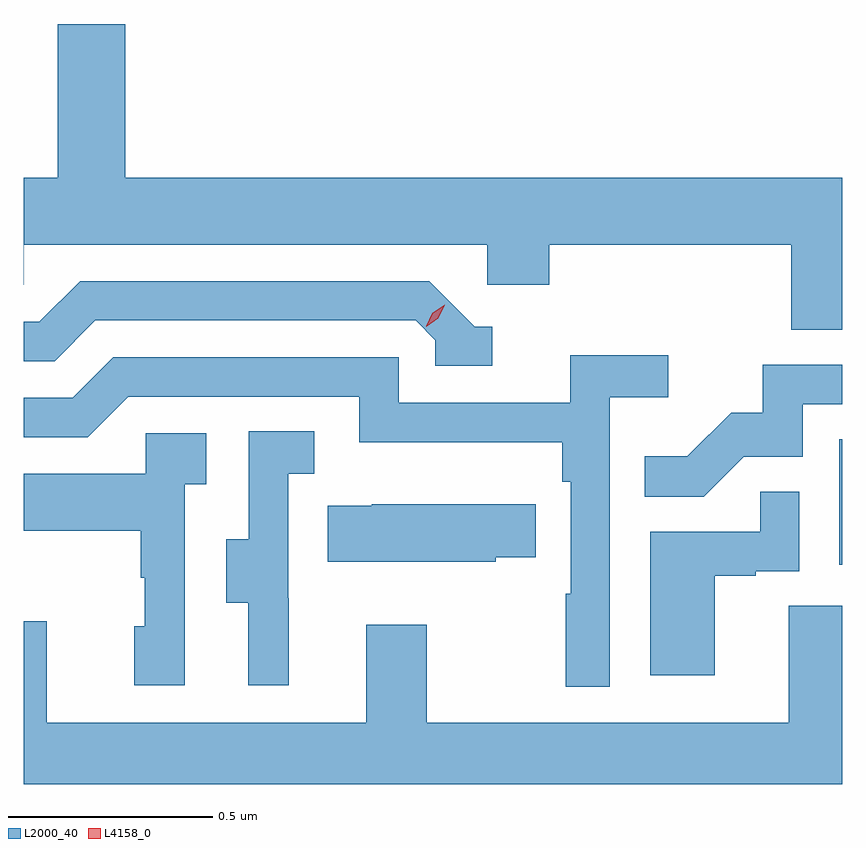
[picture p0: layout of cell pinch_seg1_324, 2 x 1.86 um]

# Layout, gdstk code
import gdstk
lib = gdstk.Library(unit=1e-6, precision=1e-09)
def R(c, l, rs):  # rectangles x0, y0, x1, y1
    for r in rs: c.add(gdstk.rectangle(r[:2], r[2:], *l))
def P(c, l, *ps):  # polygons
    for p in ps: c.add(gdstk.Polygon(p, *l))
L2000_40 = (2000, 40)
L4158_0 = (4158, 0)

pinch_seg1_324 = lib.new_cell('pinch_seg1_324')
R(pinch_seg1_324, L2000_40, [(1006.076,561.606,1006.084,561.913)])
P(pinch_seg1_324, L2000_40, [(1006.084,562.552),(1004.332,562.552),(1004.332,562.927),(1004.168,562.927),(1004.168,562.552),(1004.084,562.552),(1004.084,562.29),(1004.085,562.29),(1004.085,562.388),(1005.216,562.388),(1005.216,562.29),(1005.368,562.29),(1005.368,562.388),(1005.959,562.388),(1005.959,562.18),(1006.084,562.18)],
  [(1005.229,562.188),(1005.186,562.188),(1005.075,562.299),(1004.222,562.299),(1004.123,562.2),(1004.084,562.2),(1004.084,562.104),(1004.16,562.104),(1004.259,562.203),(1005.042,562.203),(1005.09,562.155),(1005.09,562.092),(1005.229,562.092)],
  [(1005.516,562.016),(1005.658,562.016),(1005.658,562.118),(1005.419,562.118),(1005.419,562.002),(1005,562.002),(1005,562.113),(1004.303,562.113),(1004.204,562.014),(1004.084,562.014),(1004.084,561.918),(1004.241,561.918),(1004.34,562.017),(1004.904,562.017),(1004.904,561.905),(1005.4,561.905),(1005.4,561.809),(1005.42,561.809),(1005.42,561.536),(1005.408,561.536),(1005.408,561.309),(1005.516,561.309)],
  [(1005.843,561.87),(1005.987,561.87),(1005.987,561.999),(1006.084,561.999),(1006.084,562.095),(1005.889,562.095),(1005.889,561.978),(1005.812,561.978),(1005.705,561.871),(1005.601,561.871),(1005.601,561.772),(1005.745,561.772)],
  [(1004.732,561.525),(1004.73,561.525),(1004.73,561.829),(1004.794,561.829),(1004.794,561.932),(1004.634,561.932),(1004.634,561.669),(1004.579,561.669),(1004.579,561.514),(1004.633,561.514),(1004.633,561.312),(1004.732,561.312)],
  [(1004.478,561.803),(1004.53,561.803),(1004.53,561.927),(1004.382,561.927),(1004.382,561.829),(1004.084,561.829),(1004.084,561.689),(1004.37,561.689),(1004.37,561.575),(1004.38,561.575),(1004.38,561.456),(1004.354,561.456),(1004.354,561.312),(1004.478,561.312)],
  [(1005.772,561.579),(1005.872,561.579),(1005.872,561.591),(1005.978,561.591),(1005.978,561.785),(1005.883,561.785),(1005.883,561.687),(1005.614,561.687),(1005.614,561.336),(1005.772,561.336)],
  [(1005.237,561.625),(1005.335,561.625),(1005.335,561.754),(1004.935,561.754),(1004.935,561.751),(1004.827,561.751),(1004.827,561.614),(1005.237,561.614)],
  [(1006.084,561.506),(1005.953,561.506),(1005.953,561.22),(1005.069,561.22),(1005.069,561.46),(1004.921,561.46),(1004.921,561.22),(1004.141,561.22),(1004.141,561.469),(1004.084,561.469),(1004.084,561.071),(1006.084,561.071)])
P(pinch_seg1_324, L4158_0, [(1005.067,562.188),(1005.067,562.189),(1005.082,562.221),(1005.113,562.241),(1005.113,562.241),(1005.113,562.241),(1005.097,562.208),(1005.067,562.188)])

lib.write_gds('pinch_seg1_324.gds')
